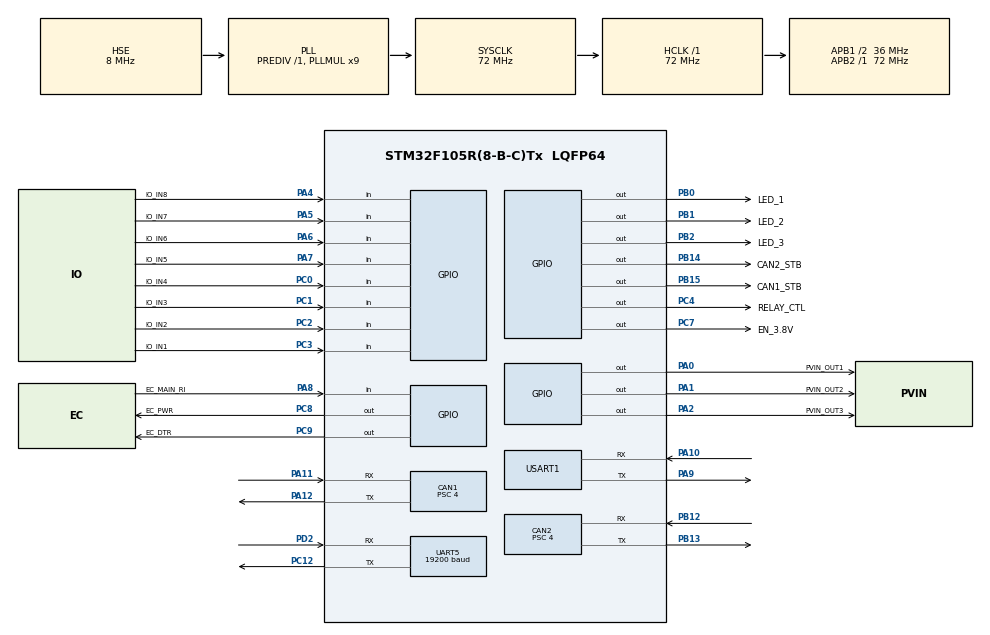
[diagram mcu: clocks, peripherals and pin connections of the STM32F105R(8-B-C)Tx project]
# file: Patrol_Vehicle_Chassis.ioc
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CAN1.AWUM=ENABLE
CAN1.BS1=CAN_BS1_15TQ
CAN1.BS2=CAN_BS2_2TQ
CAN1.CalculateBaudRate=500000
CAN1.CalculateTimeBit=2000
CAN1.CalculateTimeQuantum=111.11111111111111
CAN1.NART=ENABLE
CAN1.Prescaler=4
CAN2.AWUM=ENABLE
CAN2.BS1=CAN_BS1_15TQ
CAN2.BS2=CAN_BS2_2TQ
CAN2.CalculateBaudRate=500000
CAN2.CalculateTimeBit=2000
CAN2.CalculateTimeQuantum=111.11111111111111
CAN2.NART=ENABLE
CAN2.Prescaler=4
Dma.Request0=USART1_RX
Dma.Request1=USART1_TX
Dma.USART1_RX.0.Direction=DMA_PERIPH_TO_MEMORY
Dma.USART1_RX.0.Instance=DMA1_Channel5
Dma.USART1_RX.0.MemDataAlignment=DMA_MDATAALIGN_BYTE
Dma.USART1_RX.0.MemInc=DMA_MINC_ENABLE
Dma.USART1_RX.0.Mode=DMA_CIRCULAR
Dma.USART1_RX.0.PeriphDataAlignment=DMA_PDATAALIGN_BYTE
Dma.USART1_RX.0.PeriphInc=DMA_PINC_DISABLE
Dma.USART1_RX.0.Priority=DMA_PRIORITY_LOW
Dma.USART1_TX.1.Direction=DMA_MEMORY_TO_PERIPH
Dma.USART1_TX.1.Instance=DMA1_Channel4
Dma.USART1_TX.1.MemDataAlignment=DMA_MDATAALIGN_BYTE
Dma.USART1_TX.1.MemInc=DMA_MINC_ENABLE
Dma.USART1_TX.1.Mode=DMA_NORMAL
Dma.USART1_TX.1.PeriphDataAlignment=DMA_PDATAALIGN_BYTE
Dma.USART1_TX.1.PeriphInc=DMA_PINC_DISABLE
Dma.USART1_TX.1.Priority=DMA_PRIORITY_LOW
FREERTOS.configTOTAL_HEAP_SIZE=4096
IWDG.Prescaler=IWDG_PRESCALER_64
IWDG.Reload=1250
Mcu.Family=STM32F1
Mcu.Name=STM32F105R(8-B-C)Tx
Mcu.Package=LQFP64
NVIC.CAN1_RX0_IRQn=true\:5\:0\:false\:false\:true\:true\:true\:true\:true
NVIC.CAN1_RX1_IRQn=true\:5\:0\:false\:false\:true\:true\:true\:true\:true
NVIC.CAN1_SCE_IRQn=true\:5\:0\:false\:false\:true\:true\:true\:true\:true
NVIC.CAN1_TX_IRQn=true\:6\:0\:false\:false\:true\:true\:true\:true\:true
NVIC.CAN2_RX0_IRQn=true\:5\:0\:false\:false\:true\:true\:true\:true\:true
NVIC.CAN2_RX1_IRQn=true\:5\:0\:false\:false\:true\:true\:true\:true\:true
NVIC.CAN2_SCE_IRQn=true\:5\:0\:false\:false\:true\:true\:true\:true\:true
NVIC.CAN2_TX_IRQn=true\:6\:0\:false\:false\:true\:true\:true\:true\:true
NVIC.DMA1_Channel4_IRQn=true\:6\:0\:false\:false\:true\:true\:false\:true\:true
NVIC.DMA1_Channel5_IRQn=true\:6\:0\:false\:false\:true\:true\:false\:true\:true
NVIC.PriorityGroup=NVIC_PRIORITYGROUP_4
NVIC.TIM1_UP_IRQn=true\:15\:0\:false\:false\:true\:false\:false\:true\:true
NVIC.TimeBase=TIM1_UP_IRQn
NVIC.TimeBaseIP=TIM1
NVIC.UART5_IRQn=true\:6\:0\:false\:false\:true\:true\:true\:true\:true
NVIC.USART1_IRQn=true\:6\:0\:false\:false\:true\:true\:false\:true\:true
PA0-WKUP.GPIO_Label=PVIN_OUT1
PA0-WKUP.Signal=GPIO_Output
PA1.GPIO_Label=PVIN_OUT2
PA1.Signal=GPIO_Output
PA10.Mode=Asynchronous
PA10.Signal=USART1_RX
PA11.Mode=CAN_Activate
PA11.Signal=CAN1_RX
PA12.Mode=CAN_Activate
PA12.Signal=CAN1_TX
PA13.Mode=Serial_Wire
PA13.Signal=SYS_JTMS-SWDIO
PA14.Mode=Serial_Wire
PA14.Signal=SYS_JTCK-SWCLK
PA2.GPIO_Label=PVIN_OUT3
PA2.Signal=GPIO_Output
PA4.GPIO_Label=IO_IN8
PA4.Signal=GPIO_Input
PA5.GPIO_Label=IO_IN7
PA5.Signal=GPIO_Input
PA6.GPIO_Label=IO_IN6
PA6.Signal=GPIO_Input
PA7.GPIO_Label=IO_IN5
PA7.Signal=GPIO_Input
PA8.GPIO_Label=EC_MAIN_RI
PA8.Signal=GPIO_Input
PA9.Mode=Asynchronous
PA9.Signal=USART1_TX
PB0.GPIO_Label=LED_1
PB0.Signal=GPIO_Output
PB1.GPIO_Label=LED_2
PB1.Signal=GPIO_Output
PB12.Mode=CAN_Activate
PB12.Signal=CAN2_RX
PB13.Mode=CAN_Activate
PB13.Signal=CAN2_TX
PB14.GPIO_Label=CAN2_STB
PB14.Signal=GPIO_Output
PB15.GPIO_Label=CAN1_STB
PB15.Signal=GPIO_Output
PB2.GPIO_Label=LED_3
PB2.Signal=GPIO_Output
PC12.Mode=Asynchronous
PC12.Signal=UART5_TX
PC0.GPIO_Label=IO_IN4
PC0.Signal=GPIO_Input
PC1.GPIO_Label=IO_IN3
PC1.Signal=GPIO_Input
PC2.GPIO_Label=IO_IN2
PC2.Signal=GPIO_Input
PC3.GPIO_Label=IO_IN1
PC3.Signal=GPIO_Input
PC4.GPIO_Label=RELAY_CTL
PC4.Signal=GPIO_Output
PC7.GPIO_Label=EN_3.8V
PC7.Signal=GPIO_Output
PC8.GPIO_Label=EC_PWR
PC8.Signal=GPIO_Output
PC9.GPIO_Label=EC_DTR
PC9.Signal=GPIO_Output
PD0-OSC_IN.Mode=HSE-External-Oscillator
PD0-OSC_IN.Signal=RCC_OSC_IN
PD1-OSC_OUT.Mode=HSE-External-Oscillator
PD1-OSC_OUT.Signal=RCC_OSC_OUT
PD2.Mode=Asynchronous
PD2.Signal=UART5_RX
ProjectManager.HeapSize=0x2000
ProjectManager.StackSize=0x1000
ProjectManager.TargetToolchain=CMake
RCC.AHBFreq_Value=72000000
RCC.APB1CLKDivider=RCC_HCLK_DIV2
RCC.APB1Freq_Value=36000000
RCC.APB1TimFreq_Value=72000000
RCC.APB2Freq_Value=72000000
RCC.APB2TimFreq_Value=72000000
RCC.HCLKFreq_Value=72000000
RCC.PLLMUL=RCC_PLL_MUL9
RCC.PLLSourceVirtual=RCC_PLLSOURCE_HSE
RCC.SYSCLKFreq_VALUE=72000000
RCC.SYSCLKSource=RCC_SYSCLKSOURCE_PLLCLK
RCC.USBFreq_Value=48000000
UART5.BaudRate=19200
UART5.VirtualMode=Asynchronous
USART1.VirtualMode=VM_ASYNC
VP_FREERTOS_VS_CMSIS_V2.Mode=CMSIS_V2
VP_IWDG_VS_IWDG.Mode=IWDG_Activate
VP_SYS_VS_tim1.Mode=TIM1
board=custom

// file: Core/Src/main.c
/* USER CODE BEGIN Header */
/**
 ******************************************************************************
 * @file           : main.c
 * @brief          : PatrolVehicleChassis VCU safe bare-metal baseline.
 ******************************************************************************
 */
/* USER CODE END Header */
#include "main.h"
#include "cmsis_os.h"
#include "can.h"
#include "dma.h"
#include "iwdg.h"
#include "usart.h"
#include "gpio.h"

/* USER CODE BEGIN Includes */
#include <stdio.h>

#include "app_log.h"
#include "abox_stm32f105_ec800_port.h"
#include "app_version.h"
#include "boot_cfg.h"
#include "cloud_service.h"
#include "remote_service.h"
#include "time_base.h"
#include "patrol_config.h"
#include "vehicle_power_port.h"
#include "abox_serial_port.h"
#include "abox_modem_port.h"
#include "abox_watchdog_port.h"
uint8_t *ABoxStm32Serial_RxBuffer(void);
/* USER CODE END Includes */

// 配置本工程系统时钟、总线分频及 Flash 等待周期。按当前板级 HSE/PLL 配置执行，任何 HAL 配置失败均进入 Error_Handler，不能随意沿用其他硬件时钟参数。
void SystemClock_Config(void);
// 创建本产品 FreeRTOS 运行对象。转交 PatrolRtos_Init 创建静态任务和队列，随后由主函数启动内核调度。
void MX_FREERTOS_Init(void);

// 执行 App 启动初始化并启动 RTOS 调度器。先设置 App 向量表并核验 HAL 时基，再初始化外设、配置、电源端口和服务；调度启动前不自动授予运动许可。
int main(void)
{

  /* USER CODE BEGIN 1 */
  SCB->VTOR = APP_START_ADDR;
  __DSB();
  __ISB();

  /* USER CODE END 1 */

  /* MCU Configuration--------------------------------------------------------*/

  /* Reset of all peripherals, Initializes the Flash interface and the Systick. */
  if (HAL_Init() != HAL_OK) Error_Handler();

  /* USER CODE BEGIN Init */
  /* Boot disables and clears NVIC before handing off with PRIMASK set.
   * VTOR now selects App handlers; HAL_Init installs the TIM1 tick. Validate
   * that tick before enabling interrupts needed by clock-init timeouts. */
  if (SCB->VTOR != APP_START_ADDR ||
      (TIM1->CR1 & TIM_CR1_CEN) == 0U ||
      (TIM1->DIER & TIM_DIER_UIE) == 0U ||
      NVIC_GetEnableIRQ(TIM1_UP_IRQn) == 0U) Error_Handler();
  __enable_irq();

  /* USER CODE END Init */

  /* Configure the system clock */
  SystemClock_Config();

  /* Initialize all configured peripherals */
  MX_GPIO_Init();
  MX_DMA_Init();
  MX_CAN1_Init();
  MX_CAN2_Init();
  MX_USART1_UART_Init();
  MX_UART5_Init();
  if (!ABoxWatchdog_Init(64U, 1250U)) Error_Handler();
  /* USER CODE BEGIN 2 */
  ABoxStm32F105Ec800Port_Init();
  AppLog_Init();
  AppLog_FieldStartup(Patrol_AppFwVersion());
  TimeBase_Init();
  PatrolConfig_Load();
  VehiclePowerPort_Init();
  CloudService_Init();
  RemoteService_Init();
  /* Before the first valid board sample, collision inputs cannot grant motion. */
  RemoteService_CollisionInputs(0U, 0U, HAL_GetTick());
  APP_LOGI("BOOT", "version=%s app=0x%08lX", Patrol_AppFwVersion(),
           (unsigned long)APP_START_ADDR);

  /* USER CODE END 2 */

  /* Init scheduler */
  osKernelInitialize();  /* Call init function for freertos objects (in cmsis_os2.c) */
  MX_FREERTOS_Init();

  /* Start scheduler */
  osKernelStart();

  /* We should never get here as control is now taken by the scheduler */

  /* Infinite loop */
  while (1)
  {

  }
}

// 配置本工程系统时钟、总线分频及 Flash 等待周期。按当前板级 HSE/PLL 配置执行，任何 HAL 配置失败均进入 Error_Handler，不能随意沿用其他硬件时钟参数。
void SystemClock_Config(void)
{
  RCC_OscInitTypeDef RCC_OscInitStruct = {0};
  RCC_ClkInitTypeDef RCC_ClkInitStruct = {0};

  /** Initializes the RCC Oscillators according to the specified parameters
  * in the RCC_OscInitTypeDef structure.
  */
  RCC_OscInitStruct.OscillatorType = RCC_OSCILLATORTYPE_HSE;
  RCC_OscInitStruct.HSEState = RCC_HSE_ON;
  RCC_OscInitStruct.HSEPredivValue = RCC_HSE_PREDIV_DIV1;
  RCC_OscInitStruct.HSIState = RCC_HSI_ON;
  RCC_OscInitStruct.Prediv1Source = RCC_PREDIV1_SOURCE_HSE;
  RCC_OscInitStruct.PLL.PLLState = RCC_PLL_ON;
  RCC_OscInitStruct.PLL.PLLSource = RCC_PLLSOURCE_HSE;
  RCC_OscInitStruct.PLL.PLLMUL = RCC_PLL_MUL9;
  RCC_OscInitStruct.PLL2.PLL2State = RCC_PLL_NONE;
  if (HAL_RCC_OscConfig(&RCC_OscInitStruct) != HAL_OK)
  {
    Error_Handler();
  }

  /** Initializes the CPU, AHB and APB buses clocks
  */
  RCC_ClkInitStruct.ClockType = RCC_CLOCKTYPE_HCLK|RCC_CLOCKTYPE_SYSCLK
                              |RCC_CLOCKTYPE_PCLK1|RCC_CLOCKTYPE_PCLK2;
  RCC_ClkInitStruct.SYSCLKSource = RCC_SYSCLKSOURCE_PLLCLK;
  RCC_ClkInitStruct.AHBCLKDivider = RCC_SYSCLK_DIV1;
  RCC_ClkInitStruct.APB1CLKDivider = RCC_HCLK_DIV2;
  RCC_ClkInitStruct.APB2CLKDivider = RCC_HCLK_DIV1;

  if (HAL_RCC_ClockConfig(&RCC_ClkInitStruct, FLASH_LATENCY_2) != HAL_OK)
  {
    Error_Handler();
  }

  /** Configure the Systick interrupt time
  */
  __HAL_RCC_PLLI2S_ENABLE();
}

/* USER CODE BEGIN 4 */

// 把串口空闲线 DMA 接收事件转交云接收器。Size 表示 HAL 提供的 DMA 接收位置，具体串口过滤和环形处理由 CloudService 完成。
void HAL_UARTEx_RxEventCallback(UART_HandleTypeDef* huart, uint16_t Size)
{
  if (huart && huart->Instance == UART5)
    ABoxSerialPort_NotifyRx(ABoxStm32Serial_RxBuffer(), Size);
  else if (huart && huart->Instance == USART1) ABoxModemPort_NotifyRx(Size);
}

// 将 HAL 串口错误通知转交云服务。回调只登记后续恢复需求，不在中断中直接执行 MQTT 重连或 JSON 业务。
void HAL_UART_ErrorCallback(UART_HandleTypeDef* huart)
{
  if (huart && huart->Instance == UART5) ABoxSerialPort_NotifyError();
  else if (huart && huart->Instance == USART1) ABoxModemPort_NotifyError();
}

/* USER CODE END 4 */

// 在 TIM1 更新事件中维护 HAL 毫秒 tick。仅对 TIM1 调用 HAL_IncTick，避免把其他定时器事件重复计入系统时间。
void HAL_TIM_PeriodElapsedCallback(TIM_HandleTypeDef *htim)
{
  if (htim->Instance == TIM1)
  {
    HAL_IncTick();
  }
}

// 在无法继续的初始化或 HAL 错误后终止执行。关闭中断并永久等待，当前实现不返回，也不保证外部驱动器已经收到停车命令。
void Error_Handler(void)
{
  __disable_irq();
  while (1)
  {
  }
}

//ljk

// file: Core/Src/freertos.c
/* USER CODE BEGIN Header */
/**
  ******************************************************************************
  * File Name          : freertos.c
  * Description        : Code for freertos applications
  ******************************************************************************
  * @attention
  *
  * Copyright (c) 2026 STMicroelectronics.
  * All rights reserved.
  *
  * This software is licensed under terms that can be found in the LICENSE file
  * in the root directory of this software component.
  * If no LICENSE file comes with this software, it is provided AS-IS.
  *
  ******************************************************************************
  */
/* USER CODE END Header */

#include "FreeRTOS.h"
#include "task.h"
#include "main.h"
#include "cmsis_os.h"

/* USER CODE BEGIN Includes */
#include "patrol_rtos.h"
/* USER CODE END Includes */

// 创建本产品 FreeRTOS 运行对象。转交 PatrolRtos_Init 创建静态任务和队列，随后由主函数启动内核调度。
void MX_FREERTOS_Init(void); /* (MISRA C 2004 rule 8.1) */

// 创建本产品 FreeRTOS 运行对象。转交 PatrolRtos_Init 创建静态任务和队列，随后由主函数启动内核调度。
void MX_FREERTOS_Init(void) {
  /* USER CODE BEGIN Init */
  PatrolRtos_Init();
  /* USER CODE END Init */

}
